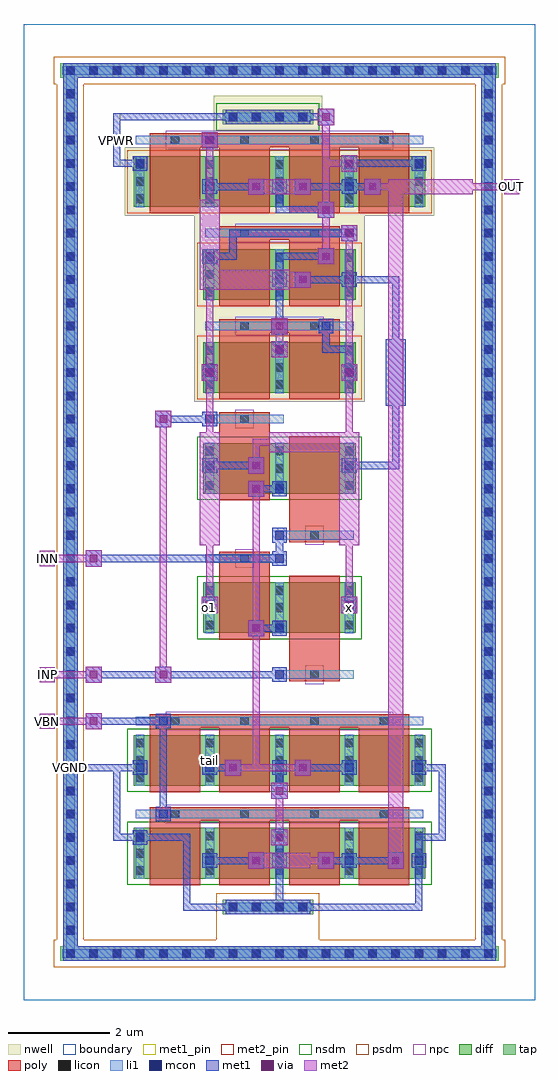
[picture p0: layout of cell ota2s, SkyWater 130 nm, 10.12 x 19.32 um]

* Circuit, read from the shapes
.subckt ota2s INN INP OUT VBN VGND VPWR o1 tail x
XM1 OUT VBN VGND VGND sky130_fd_pr__nfet_01v8 w=1 l=1 m=4
XM2 tail VBN VGND VGND sky130_fd_pr__nfet_01v8 w=1 l=1 m=4
XM3 tail INN o1 VGND sky130_fd_pr__nfet_01v8 w=1 l=1 m=2
XM4 tail INP x VGND sky130_fd_pr__nfet_01v8 w=1 l=1 m=2
XM5 OUT o1 VPWR VPWR sky130_fd_pr__pfet_01v8 w=1 l=1 m=4
XM6 VPWR x o1 VPWR sky130_fd_pr__pfet_01v8 w=1 l=1 m=2
XM7 VPWR x x VPWR sky130_fd_pr__pfet_01v8 w=1 l=1 m=2
.ends

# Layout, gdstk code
import gdstk
lib = gdstk.Library(unit=1e-6, precision=1e-09)
def R(c, l, rs):  # rectangles x0, y0, x1, y1
    for r in rs: c.add(gdstk.rectangle(r[:2], r[2:], *l))
def A(c, l, x, y, w, h, nx, ny, dx, dy):  # array of equal rectangles
    R(c, l, [(x+i*dx, y+j*dy, x+i*dx+w, y+j*dy+h) for i in range(nx) for j in range(ny)])
nwell = (64, 20)
diff = (65, 20)
tap = (65, 44)
poly = (66, 20)
licon = (66, 44)
li1 = (67, 20)
mcon = (67, 44)
met1_pin = (68, 16)
met1 = (68, 20)
via = (68, 44)
met2_pin = (69, 16)
met2 = (69, 20)
nsdm = (93, 44)
psdm = (94, 20)
npc = (95, 20)
boundary = (235, 4)

ota2s = lib.new_cell('ota2s')
R(ota2s, nwell, [(3.375,11.84,6.745,15.52), (1.995,15.52,8.125,16.88), (3.755,16.88,5.905,17.9)])
R(ota2s, diff, [(2.175,2.405,7.945,3.405), (2.175,4.245,7.945,5.245), (3.555,7.265,6.565,8.265), (3.555,10.025,6.565,11.025), (3.555,12.02,6.565,13.02), (3.555,13.86,6.565,14.86), (2.175,15.7,7.945,16.7)])
R(ota2s, tap, [(0.715,0.775,9.405,1.065), (0.775,0.775,1.065,18.545), (9.055,0.775,9.345,18.545), (3.935,1.695,5.725,1.985), (3.935,17.335,5.725,17.625), (0.715,18.255,9.405,18.545)])
A(ota2s, poly, 2.49, 2.275, 1, 1.405, 4, 2, 1.38, 1.84)
A(ota2s, poly, 2.49, 15.57, 1, 1.45, 4, 1, 1.38, 0)
R(ota2s, poly, [(2.49,3.545,7.63,3.815), (2.49,5.385,7.63,5.655), (5.25,6.305,6.25,6.575), (5.25,6.44,6.25,8.395), (3.87,7.135,4.87,8.74), (3.87,8.605,4.87,8.875), (5.25,9.065,6.25,9.335), (5.25,9.2,6.25,11.155), (3.87,9.895,4.87,11.5), (3.87,11.365,4.87,11.635), (3.87,11.89,4.87,13.34), (5.25,11.89,6.25,13.34), (3.87,13.205,6.25,13.475), (3.87,13.73,4.87,15.18), (5.25,13.73,6.25,15.18), (3.87,15.045,6.25,15.315), (2.49,16.885,7.63,17.155)])
A(ota2s, licon, 0.835, 0.835, 0.17, 0.17, 19, 2, 0.46, 17.48)
A(ota2s, licon, 0.835, 1.295, 0.17, 0.17, 1, 37, 0, 0.46)
A(ota2s, licon, 9.115, 1.295, 0.17, 0.17, 1, 37, 0, 0.46)
A(ota2s, licon, 4.055, 1.755, 0.17, 0.17, 4, 2, 0.46, 15.64)
A(ota2s, licon, 2.215, 2.48, 0.17, 0.17, 5, 3, 1.38, 0.34)
A(ota2s, licon, 2.905, 3.595, 0.17, 0.17, 4, 2, 1.38, 1.84)
A(ota2s, licon, 2.215, 4.32, 0.17, 0.17, 5, 3, 1.38, 0.34)
A(ota2s, licon, 3.595, 7.34, 0.17, 0.17, 3, 3, 1.38, 0.34)
A(ota2s, licon, 3.595, 10.1, 0.17, 0.17, 3, 3, 1.38, 0.34)
A(ota2s, licon, 4.285, 11.415, 0.17, 0.17, 1, 3, 0, 1.84)
A(ota2s, licon, 3.595, 12.095, 0.17, 0.17, 3, 3, 1.38, 0.34)
A(ota2s, licon, 3.595, 13.935, 0.17, 0.17, 3, 3, 1.38, 0.34)
A(ota2s, licon, 2.215, 15.775, 0.17, 0.17, 5, 3, 1.38, 0.34)
A(ota2s, licon, 2.905, 16.935, 0.17, 0.17, 4, 1, 1.38, 0)
R(ota2s, licon, [(5.665,6.355,5.835,6.525), (4.285,8.655,4.455,8.825), (5.665,9.115,5.835,9.285), (5.665,13.255,5.835,13.425), (5.665,15.095,5.835,15.265)])
A(ota2s, li1, 2.215, 2.4, 0.17, 1.01, 5, 2, 1.38, 1.84)
A(ota2s, li1, 3.595, 7.26, 0.17, 1.01, 3, 2, 1.38, 2.76)
A(ota2s, li1, 3.595, 12.015, 0.17, 1.01, 3, 2, 1.38, 1.84)
A(ota2s, li1, 2.215, 15.695, 0.17, 1.01, 5, 1, 1.38, 0)
R(ota2s, li1, [(0.755,0.835,9.365,1.005), (0.835,0.835,1.005,18.485), (9.115,0.835,9.285,18.485), (3.975,1.755,5.685,1.925), (2.215,3.595,7.905,3.765), (2.215,5.435,7.905,5.605), (4.975,6.355,6.525,6.525), (3.595,8.655,5.145,8.825), (4.975,9.115,6.525,9.285), (3.595,11.415,5.145,11.585), (3.595,13.255,6.525,13.425), (3.595,15.095,6.525,15.265), (2.215,16.935,7.905,17.105), (3.975,17.395,5.685,17.565), (0.755,18.315,9.365,18.485)])
A(ota2s, mcon, 0.835, 0.835, 0.17, 0.17, 19, 2, 0.46, 17.48)
A(ota2s, mcon, 0.835, 1.295, 0.17, 0.17, 1, 7, 0, 0.46)
A(ota2s, mcon, 9.115, 1.295, 0.17, 0.17, 1, 3, 0, 0.46)
A(ota2s, mcon, 4.055, 1.755, 0.17, 0.17, 4, 2, 0.46, 15.64)
A(ota2s, mcon, 3.595, 2.675, 0.17, 0.17, 5, 1, 1.38, 0)
A(ota2s, mcon, 9.115, 3.135, 0.17, 0.17, 1, 3, 0, 0.46)
A(ota2s, mcon, 0.835, 4.515, 0.17, 0.17, 7, 1, 1.38, 0)
A(ota2s, mcon, 0.835, 4.975, 0.17, 0.17, 1, 3, 0, 0.46)
A(ota2s, mcon, 9.115, 4.975, 0.17, 0.17, 1, 3, 0, 0.46)
A(ota2s, mcon, 0.835, 6.355, 0.17, 0.17, 3, 2, 4.14, 0.92)
A(ota2s, mcon, 0.835, 6.815, 0.17, 0.17, 1, 4, 0, 1.38)
A(ota2s, mcon, 9.115, 6.815, 0.17, 0.17, 1, 4, 0, 1.38)
A(ota2s, mcon, 0.835, 7.735, 0.17, 0.17, 4, 2, 2.76, 2.76)
A(ota2s, mcon, 0.835, 8.655, 0.17, 0.17, 3, 2, 4.14, 0.46)
A(ota2s, mcon, 0.835, 10.035, 0.17, 0.17, 3, 2, 4.14, 2.76)
A(ota2s, mcon, 0.835, 12.335, 0.17, 0.17, 4, 1, 2.76, 0)
A(ota2s, mcon, 0.835, 13.255, 0.17, 0.17, 1, 11, 0, 0.46)
A(ota2s, mcon, 9.115, 13.255, 0.17, 0.17, 1, 11, 0, 0.46)
A(ota2s, mcon, 3.595, 16.015, 0.17, 0.17, 3, 1, 1.38, 0)
R(ota2s, mcon, [(2.215,3.135,2.385,3.305), (2.675,3.595,2.845,3.765), (2.675,5.435,2.845,5.605), (0.835,11.415,1.005,11.585), (3.595,11.415,3.765,11.585), (9.115,11.415,9.285,11.585), (0.835,11.875,1.005,12.045), (9.115,11.875,9.285,12.045), (5.895,13.255,6.065,13.425), (4.975,14.175,5.145,14.345), (6.355,14.175,6.525,14.345), (3.595,14.635,3.765,14.805), (6.355,15.095,6.525,15.265), (2.215,16.475,2.385,16.645), (7.735,16.475,7.905,16.645), (3.595,16.935,3.765,17.105)])
R(ota2s, met1_pin, [(0.85,4.53,0.99,4.67), (1.77,16.49,1.91,17.55)])
A(ota2s, met1, 4.44, 2.6, 0.32, 0.32, 3, 1, 1.38, 0)
A(ota2s, met1, 3.535, 2.615, 0.29, 0.29, 4, 1, 1.38, 0)
A(ota2s, met1, 2.155, 4.455, 0.29, 0.29, 5, 1, 1.38, 0)
A(ota2s, met1, 3.52, 7.66, 0.32, 0.32, 1, 3, 0, 4.6)
A(ota2s, met1, 3.535, 10.435, 0.29, 0.29, 1, 3, 0, 0.92)
A(ota2s, met1, 6.295, 10.435, 0.29, 0.29, 1, 3, 0, 1.84)
A(ota2s, met1, 3.535, 15.955, 0.29, 0.29, 3, 1, 1.38, 0)
R(ota2s, met1, [(0.775,0.775,9.345,1.065), (0.775,0.775,1.065,18.545), (9.055,0.775,9.345,18.545), (3.995,1.695,5.665,1.985), (3.15,1.77,4.21,1.91), (3.15,1.77,3.29,3.29), (4.07,1.77,5.13,1.91), (4.07,1.77,4.21,1.91), (4.99,1.77,5.13,2.83), (4.99,1.77,7.89,1.91), (7.75,1.77,7.89,2.83), (3.61,2.69,4.67,2.83), (4.99,2.69,5.13,3.29), (5.91,2.69,6.51,2.83), (6.37,2.69,7.43,2.83), (7.75,2.69,7.89,3.29), (4.9,3.06,5.22,3.38), (2.155,3.075,2.445,3.365), (1.77,3.15,2.37,3.29), (1.77,3.15,1.91,4.67), (2.23,3.15,3.29,3.29), (7.75,3.15,8.35,3.29), (8.21,3.15,8.35,4.67), (2.615,3.535,2.905,3.825), (2.69,3.61,2.83,5.59), (4.9,3.98,5.22,4.3), (4.99,4.07,5.13,4.67), (3.98,4.44,4.3,4.76), (5.36,4.44,5.68,4.76), (0.85,4.53,0.99,18.47), (0.85,4.53,0.99,4.67), (0.85,4.53,2.37,4.67), (3.61,4.53,4.21,4.67), (5.45,4.53,6.51,4.67), (7.75,4.53,8.35,4.67), (1.22,5.36,1.54,5.68), (2.615,5.375,2.905,5.665), (1.31,5.45,2.83,5.59), (1.22,6.28,1.54,6.6), (2.6,6.28,2.92,6.6), (4.915,6.295,5.205,6.585), (1.31,6.37,5.13,6.51), (4.44,7.2,4.76,7.52), (4.915,7.215,5.205,7.505), (4.53,7.29,5.13,7.43), (6.28,7.66,6.6,7.98), (3.535,7.675,3.825,7.965), (6.295,7.675,6.585,7.965), (1.22,8.58,1.54,8.9), (4.915,8.595,5.205,8.885), (1.31,8.67,5.13,8.81), (4.99,8.67,5.13,9.27), (4.915,9.055,5.205,9.345), (4.44,9.96,4.76,10.28), (4.915,9.975,5.205,10.265), (4.53,10.05,5.13,10.19), (4.44,10.42,4.76,10.74), (3.61,10.51,4.67,10.65), (6.37,10.51,7.43,10.65), (7.29,10.51,7.43,12.03), (2.6,11.34,2.92,11.66), (2.69,11.43,3.75,11.57), (7.16,11.76,7.56,13.08), (6.28,12.26,6.6,12.58), (6.37,12.35,6.51,12.95), (4.9,12.72,5.22,13.04), (4.915,12.735,5.205,13.025), (5.91,12.81,6.51,12.95), (5.91,12.81,6.05,13.41), (7.29,12.81,7.43,14.33), (4.9,13.18,5.22,13.5), (5.835,13.195,6.125,13.485), (4.99,13.27,5.13,14.33), (5.36,14.1,5.68,14.42), (4.915,14.115,5.205,14.405), (4.99,14.19,5.13,14.79), (5.45,14.19,6.51,14.33), (6.37,14.19,7.43,14.33), (5.82,14.56,6.14,14.88), (3.535,14.575,3.825,14.865), (3.61,14.65,4.21,14.79), (4.07,14.65,4.21,15.25), (4.99,14.65,6.05,14.79), (6.28,15.02,6.6,15.34), (6.295,15.035,6.585,15.325), (4.07,15.11,6.51,15.25), (5.82,15.48,6.14,15.8), (4.99,15.57,5.13,16.17), (4.99,15.57,6.05,15.71), (4.44,15.94,4.76,16.26), (5.36,15.94,5.68,16.26), (6.74,15.94,7.06,16.26), (3.61,16.03,4.67,16.17), (5.45,16.03,6.51,16.17), (6.37,16.03,6.97,16.17), (6.28,16.4,6.6,16.72), (2.155,16.415,2.445,16.705), (7.675,16.415,7.965,16.705), (1.77,16.49,2.37,16.63), (1.77,16.49,1.91,17.55), (6.37,16.49,7.89,16.63), (3.535,16.875,3.825,17.165), (5.82,17.32,6.14,17.64), (3.995,17.335,5.665,17.625), (1.77,17.41,5.59,17.55), (5.45,17.41,6.05,17.55), (5.45,17.41,5.59,17.55), (0.775,18.255,9.345,18.545), (0.85,18.33,0.99,18.47)])
A(ota2s, via, 4.525, 2.685, 0.15, 0.15, 3, 1, 1.38, 0)
A(ota2s, via, 3.605, 7.745, 0.15, 0.15, 1, 3, 0, 4.6)
R(ota2s, via, [(4.985,3.145,5.135,3.295), (4.985,4.065,5.135,4.215), (4.065,4.525,4.215,4.675), (5.445,4.525,5.595,4.675), (1.305,5.445,1.455,5.595), (1.305,6.365,1.455,6.515), (2.685,6.365,2.835,6.515), (4.525,7.285,4.675,7.435), (6.365,7.745,6.515,7.895), (1.305,8.665,1.455,8.815), (4.525,10.045,4.675,10.195), (4.525,10.505,4.675,10.655), (2.685,11.425,2.835,11.575), (6.365,12.345,6.515,12.495), (4.985,12.805,5.135,12.955), (4.985,13.265,5.135,13.415), (5.445,14.185,5.595,14.335), (5.905,14.645,6.055,14.795), (6.365,15.105,6.515,15.255), (5.905,15.565,6.055,15.715), (4.525,16.025,4.675,16.175), (5.445,16.025,5.595,16.175), (6.825,16.025,6.975,16.175), (6.365,16.485,6.515,16.635), (5.905,17.405,6.055,17.555)])
R(ota2s, met2_pin, [(0.31,5.37,0.61,5.67), (0.31,6.29,0.61,6.59), (0.31,8.59,0.61,8.89), (9.51,15.95,9.81,16.25)])
A(ota2s, met2, 4.44, 2.6, 0.32, 0.32, 3, 1, 1.38, 0)
A(ota2s, met2, 3.52, 7.66, 0.32, 0.32, 1, 3, 0, 4.6)
R(ota2s, met2, [(4.45,2.61,5.67,2.91), (7.21,2.61,7.51,16.25), (5.45,2.69,6.05,2.83), (4.9,3.06,5.22,3.38), (4.99,3.15,5.13,4.21), (4.9,3.98,5.22,4.3), (3.98,4.44,4.3,4.76), (5.36,4.44,5.68,4.76), (4.07,4.53,5.59,4.67), (4.53,4.53,4.67,7.43), (1.22,5.36,1.54,5.68), (0.31,5.37,0.61,5.67), (0.39,5.45,0.53,5.59), (0.39,5.45,1.45,5.59), (1.22,6.28,1.54,6.6), (2.6,6.28,2.92,6.6), (0.31,6.29,0.61,6.59), (0.39,6.37,0.53,6.51), (0.39,6.37,1.45,6.51), (2.69,6.37,2.83,11.57), (4.44,7.2,4.76,7.52), (4.53,7.29,4.67,10.19), (6.28,7.66,6.6,7.98), (3.61,7.75,3.75,9.27), (6.37,7.75,6.51,9.27), (1.22,8.58,1.54,8.9), (0.31,8.59,0.61,8.89), (0.39,8.67,0.53,8.81), (0.39,8.67,1.45,8.81), (3.48,9,3.88,11.24), (6.24,9,6.64,11.24), (4.44,9.96,4.76,10.28), (4.44,10.42,4.76,10.74), (4.53,10.51,4.67,11.11), (4.86,10.84,6.64,11.24), (3.61,10.97,3.75,12.49), (4.53,10.97,5.13,11.11), (6.37,10.97,6.51,12.49), (2.6,11.34,2.92,11.66), (6.28,12.26,6.6,12.58), (3.61,12.35,3.75,14.33), (6.37,12.35,6.51,15.25), (4.9,12.72,5.22,13.04), (4.99,12.81,5.13,13.41), (4.9,13.18,5.22,13.5), (3.48,14.06,5.26,14.46), (3.48,14.06,3.88,15.84), (5.26,14.1,5.36,14.42), (5.36,14.1,5.68,14.42), (4.99,14.19,5.59,14.33), (5.82,14.56,6.14,14.88), (5.91,14.65,6.05,15.71), (6.28,15.02,6.6,15.34), (5.82,15.48,6.14,15.8), (3.61,15.57,3.75,17.09), (5.91,15.57,6.05,17.55), (4.44,15.94,4.76,16.26), (5.36,15.94,5.68,16.26), (6.74,15.94,7.06,16.26), (4.45,15.95,5.67,16.25), (7.21,15.95,8.89,16.25), (9.51,15.95,9.81,16.25), (6.83,16.03,7.43,16.17), (8.67,16.03,9.73,16.17), (9.59,16.03,9.73,16.17), (6.28,16.4,6.6,16.72), (5.91,16.49,6.51,16.63), (5.82,17.32,6.14,17.64)])
R(ota2s, nsdm, [(2.05,2.28,8.07,3.53), (2.05,4.12,8.07,5.37), (3.43,7.14,6.69,8.39), (3.43,9.9,6.69,11.15), (3.81,17.21,5.85,17.75)])
R(ota2s, psdm, [(0.59,0.65,9.53,1.19), (0.65,1.19,1.19,18.13), (3.81,1.19,5.85,2.11), (8.93,1.19,9.47,18.13), (3.43,11.895,6.69,13.145), (3.43,13.735,6.69,14.985), (2.05,15.575,8.07,16.825), (0.59,18.13,9.53,18.67)])
R(ota2s, npc, [(2.805,3.495,7.315,3.865), (2.805,5.335,7.315,5.705), (5.565,6.255,5.935,6.625), (4.185,8.555,4.555,8.925), (5.565,9.015,5.935,9.385), (4.185,11.315,4.555,11.685), (4.185,13.155,5.935,13.525), (4.185,14.995,5.935,15.365), (2.805,16.835,7.315,17.205)])
R(ota2s, boundary, [(0,0,10.12,19.32)])
ota2s.add(gdstk.Label('tail', (3.68,4.745), layer=67, texttype=5))
ota2s.add(gdstk.Label('o1', (3.68,7.765), layer=67, texttype=5))
ota2s.add(gdstk.Label('x', (6.44,7.765), layer=67, texttype=5))
ota2s.add(gdstk.Label('VPWR', (1.84,17.02), layer=68, texttype=5))
ota2s.add(gdstk.Label('VGND', (0.92,4.6), layer=68, texttype=5))
ota2s.add(gdstk.Label('INP', (0.46,6.44), layer=69, texttype=5))
ota2s.add(gdstk.Label('INN', (0.46,8.74), layer=69, texttype=5))
ota2s.add(gdstk.Label('VBN', (0.46,5.52), layer=69, texttype=5))
ota2s.add(gdstk.Label('OUT', (9.66,16.1), layer=69, texttype=5))
ota2s.add(gdstk.Label('VPWR', (1.84,17.02), layer=68, texttype=16))
ota2s.add(gdstk.Label('VGND', (0.92,4.6), layer=68, texttype=16))
ota2s.add(gdstk.Label('INP', (0.46,6.44), layer=69, texttype=16))
ota2s.add(gdstk.Label('INN', (0.46,8.74), layer=69, texttype=16))
ota2s.add(gdstk.Label('VBN', (0.46,5.52), layer=69, texttype=16))
ota2s.add(gdstk.Label('OUT', (9.66,16.1), layer=69, texttype=16))

lib.write_gds('ota2s.gds')
